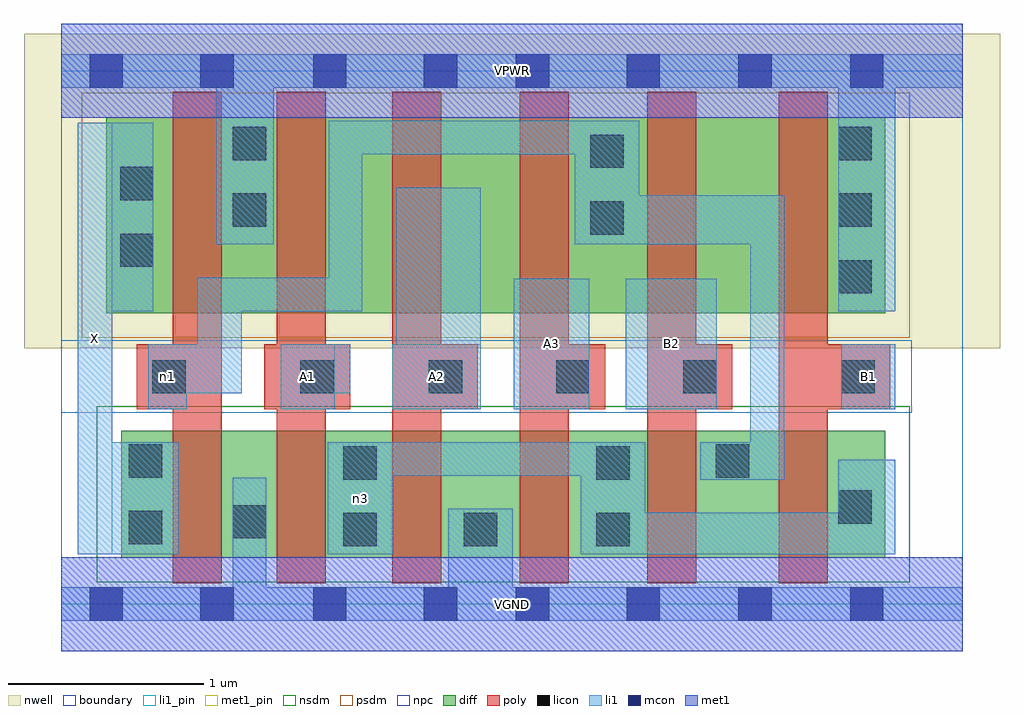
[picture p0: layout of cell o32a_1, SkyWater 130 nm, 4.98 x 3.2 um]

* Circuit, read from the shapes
.subckt o32a_1 A1 A2 A3 B1 B2 VGND VPWR X n1 n3
XM1 VGND n1 X VSUBS sky130_fd_pr__nfet_01v8 w=0.65 l=0.25
XM2 n3 A1 VGND VSUBS sky130_fd_pr__nfet_01v8 w=0.65 l=0.25
XM3 VGND A2 n3 VSUBS sky130_fd_pr__nfet_01v8 w=0.65 l=0.25
XM4 n3 A3 VGND VSUBS sky130_fd_pr__nfet_01v8 w=0.65 l=0.25
XM5 n1 B2 n3 VSUBS sky130_fd_pr__nfet_01v8 w=0.65 l=0.25
XM6 n3 B1 n1 VSUBS sky130_fd_pr__nfet_01v8 w=0.65 l=0.25
XM7 VPWR n1 X n2 sky130_fd_pr__pfet_01v8 w=1 l=0.25
XM8 n4 A1 VPWR n2 sky130_fd_pr__pfet_01v8 w=1 l=0.25
XM9 n5 A2 n4 n2 sky130_fd_pr__pfet_01v8 w=1 l=0.25
XM10 n1 A3 n5 n2 sky130_fd_pr__pfet_01v8 w=1 l=0.25
XM11 n6 B2 n1 n2 sky130_fd_pr__pfet_01v8 w=1 l=0.25
XM12 VPWR B1 n6 n2 sky130_fd_pr__pfet_01v8 w=1 l=0.25
.ends

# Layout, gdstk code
import gdstk
lib = gdstk.Library(unit=1e-6, precision=1e-09)
def R(c, l, rs):  # rectangles x0, y0, x1, y1
    for r in rs: c.add(gdstk.rectangle(r[:2], r[2:], *l))
def A(c, l, x, y, w, h, nx, ny, dx, dy):  # array of equal rectangles
    R(c, l, [(x+i*dx, y+j*dy, x+i*dx+w, y+j*dy+h) for i in range(nx) for j in range(ny)])
nwell = (64, 20)
diff = (65, 20)
poly = (66, 20)
licon = (66, 44)
li1_pin = (67, 16)
li1 = (67, 20)
mcon = (67, 44)
met1_pin = (68, 16)
met1 = (68, 20)
nsdm = (93, 44)
psdm = (94, 20)
npc = (95, 20)
boundary = (235, 4)

o32a_1 = lib.new_cell('o32a_1')
R(o32a_1, nwell, [(-0.19,1.305,4.79,2.91), (0,1.305,4.6,2.91)])
R(o32a_1, diff, [(0.305,0.235,4.205,0.885), (0.23,1.485,4.205,2.485)])
A(o32a_1, poly, 1.69, 0.105, 0.25, 2.51, 3, 1, 0.65, 0)
A(o32a_1, poly, 1.69, 0.995, 0.435, 0.33, 3, 1, 0.65, 0)
R(o32a_1, poly, [(0.57,0.105,0.82,2.615), (1.1,0.105,1.35,2.615), (3.66,0.105,3.91,2.615), (0.385,0.995,0.82,1.325), (1.035,0.995,1.475,1.325), (3.66,0.995,4.23,1.325)])
A(o32a_1, licon, 1.875, 1.075, 0.17, 0.17, 3, 1, 0.65, 0)
A(o32a_1, licon, 3.965, 1.585, 0.17, 0.17, 1, 3, 0, 0.34)
R(o32a_1, licon, [(1.44,0.295,1.61,0.465), (2.055,0.295,2.225,0.465), (2.73,0.295,2.9,0.465), (0.345,0.305,0.515,0.475), (0.875,0.335,1.045,0.505), (3.965,0.41,4.135,0.58), (1.44,0.635,1.61,0.805), (2.73,0.635,2.9,0.805), (0.345,0.645,0.515,0.815), (3.34,0.645,3.51,0.815), (0.465,1.075,0.635,1.245), (1.22,1.075,1.39,1.245), (3.98,1.075,4.15,1.245), (0.3,1.72,0.47,1.89), (2.7,1.885,2.87,2.055), (0.875,1.925,1.045,2.095), (0.3,2.06,0.47,2.23), (2.7,2.225,2.87,2.395), (0.875,2.265,1.045,2.435)])
R(o32a_1, li1_pin, [(0.085,0.255,0.26,2.455), (1.12,0.995,1.395,1.325), (1.69,0.995,2.14,1.325), (2.31,0.995,2.695,1.66), (2.88,0.995,3.345,1.66), (3.98,0.995,4.255,1.325)])
R(o32a_1, li1, [(0,-0.085,4.6,0.085), (0.875,-0.085,1.045,0.645), (1.975,-0.085,2.305,0.485), (0.085,0.255,0.26,2.455), (0.085,0.255,0.6,0.825), (1.36,0.255,1.695,0.825), (2.65,0.255,2.98,0.825), (2.65,0.255,4.255,0.465), (3.965,0.255,4.255,0.735), (3.26,0.635,3.69,0.825), (3.515,0.635,3.69,2.085), (1.36,0.655,2.98,0.825), (0.445,0.995,0.64,1.325), (1.12,0.995,1.395,1.325), (1.69,0.995,2.14,1.325), (1.71,0.995,2.14,2.125), (2.31,0.995,2.695,1.66), (2.88,0.995,3.345,1.66), (3.98,0.995,4.255,1.325), (0.445,1.075,0.92,1.325), (0.695,1.075,0.92,1.665), (1.12,1.075,1.475,1.325), (0.085,1.495,0.47,2.455), (0.695,1.495,1.535,1.665), (1.365,1.495,1.535,2.465), (3.965,1.495,4.255,2.805), (0.79,1.835,1.085,2.805), (2.62,1.835,3.69,2.085), (2.62,1.835,2.95,2.465), (1.365,2.295,2.95,2.465), (0,2.635,4.6,2.805)])
A(o32a_1, mcon, 2.885, -0.085, 0.17, 0.17, 3, 2, 0.57, 2.72)
R(o32a_1, mcon, [(0.145,-0.085,0.315,0.085), (0.71,-0.085,0.88,0.085), (1.285,-0.085,1.455,0.085), (1.85,-0.085,2.02,0.085), (2.32,-0.085,2.49,0.085), (0.145,2.635,0.315,2.805), (0.71,2.635,0.88,2.805), (1.285,2.635,1.455,2.805), (1.85,2.635,2.02,2.805), (2.32,2.635,2.49,2.805)])
R(o32a_1, met1_pin, [(0,-0.24,4.6,0.24), (0,2.48,4.6,2.96)])
R(o32a_1, met1, [(0,-0.24,4.6,0.24), (0,2.48,4.6,2.96)])
R(o32a_1, nsdm, [(0.18,0.11,4.33,1.01)])
R(o32a_1, psdm, [(0.105,1.36,4.33,2.61)])
R(o32a_1, npc, [(0,0.975,4.34,1.345)])
R(o32a_1, boundary, [(0,0,4.6,2.72)])
o32a_1.add(gdstk.Label('A1', (1.257,1.16), layer=67, texttype=5))
o32a_1.add(gdstk.Label('A2', (1.915,1.16), layer=67, texttype=5))
o32a_1.add(gdstk.Label('A3', (2.502,1.327), layer=67, texttype=5))
o32a_1.add(gdstk.Label('B1', (4.117,1.16), layer=67, texttype=5))
o32a_1.add(gdstk.Label('B2', (3.112,1.327), layer=67, texttype=5))
o32a_1.add(gdstk.Label('X', (0.172,1.355), layer=67, texttype=5))
o32a_1.add(gdstk.Label('n3', (1.527,0.54), layer=67, texttype=5))
o32a_1.add(gdstk.Label('n1', (0.542,1.16), layer=67, texttype=5))
o32a_1.add(gdstk.Label('VPWR', (2.3,2.72), layer=68, texttype=5))
o32a_1.add(gdstk.Label('VGND', (2.3,0), layer=68, texttype=5))
o32a_1.add(gdstk.Label('A1', (1.257,1.16), layer=67, texttype=16))
o32a_1.add(gdstk.Label('A2', (1.915,1.16), layer=67, texttype=16))
o32a_1.add(gdstk.Label('A3', (2.502,1.327), layer=67, texttype=16))
o32a_1.add(gdstk.Label('B1', (4.117,1.16), layer=67, texttype=16))
o32a_1.add(gdstk.Label('B2', (3.112,1.327), layer=67, texttype=16))
o32a_1.add(gdstk.Label('X', (0.172,1.355), layer=67, texttype=16))
o32a_1.add(gdstk.Label('VPWR', (2.3,2.72), layer=68, texttype=16))
o32a_1.add(gdstk.Label('VGND', (2.3,0), layer=68, texttype=16))

lib.write_gds('o32a_1.gds')
